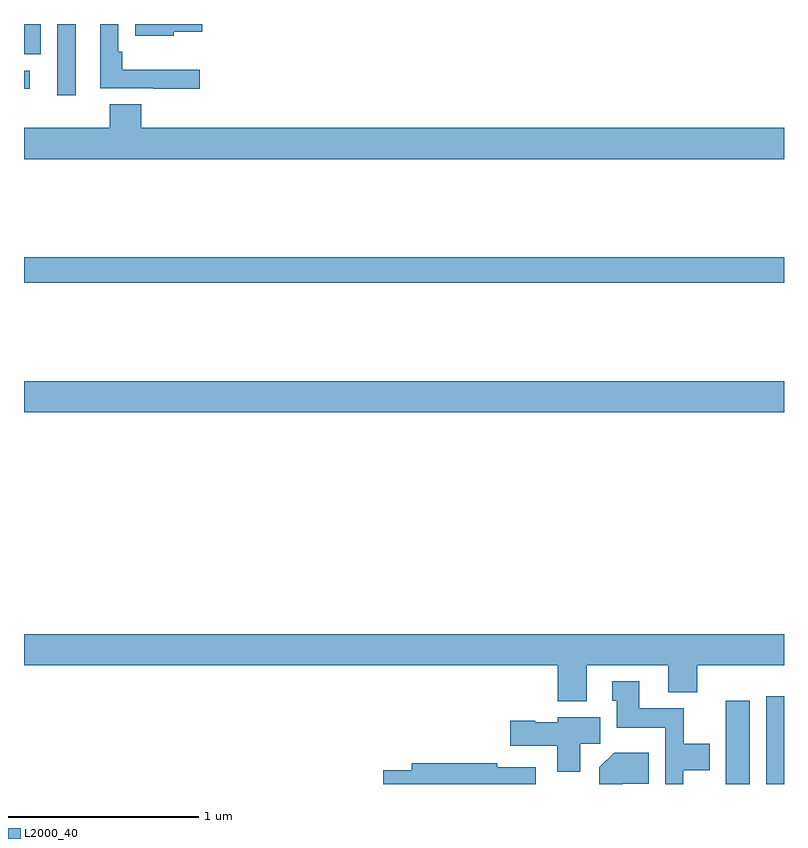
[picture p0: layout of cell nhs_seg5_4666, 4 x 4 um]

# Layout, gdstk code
import gdstk
lib = gdstk.Library(unit=1e-6, precision=1e-09)
def R(c, l, rs):  # rectangles x0, y0, x1, y1
    for r in rs: c.add(gdstk.rectangle(r[:2], r[2:], *l))
def P(c, l, *ps):  # polygons
    for p in ps: c.add(gdstk.Polygon(p, *l))
L2000_40 = (2000, 40)

nhs_seg5_4666 = lib.new_cell('nhs_seg5_4666')
R(nhs_seg5_4666, L2000_40, [(388.694,858.799,388.819,859.237), (388.907,858.799,389,859.261), (385,860.756,389,860.92), (385,861.436,389,861.572), (385.176,862.425,385.272,862.799), (385,862.457,385.03,862.554), (385,862.64,385.087,862.799)])
P(nhs_seg5_4666, L2000_40, [(385.924,862.558),(385.517,862.558),(385.517,862.654),(385.497,862.654),(385.497,862.799),(385.401,862.799),(385.401,862.461),(385.679,862.461),(385.679,862.457),(385.924,862.457)],
  [(385.788,862.757),(385.939,862.757),(385.939,862.799),(385.586,862.799),(385.586,862.736),(385.788,862.736)],
  [(389,862.252),(385.616,862.252),(385.616,862.376),(385.451,862.376),(385.451,862.252),(385,862.252),(385,862.088),(389,862.088)],
  [(387.961,859.424),(388.391,859.424),(388.391,859.283),(388.544,859.283),(388.544,859.424),(389,859.424),(389,859.588),(385,859.588),(385,859.424),(387.809,859.424),(387.809,859.235),(387.961,859.235)],
  [(388.47,858.872),(388.609,858.872),(388.609,859.012),(388.473,859.012),(388.473,859.198),(388.237,859.198),(388.237,859.339),(388.097,859.339),(388.097,859.236),(388.121,859.236),(388.121,859.094),(388.374,859.094),(388.374,858.799),(388.47,858.799)],
  [(387.928,859.012),(388.033,859.012),(388.033,859.15),(387.81,859.15),(387.81,859.123),(387.69,859.123),(387.69,859.131),(387.558,859.131),(387.558,859.001),(387.806,859.001),(387.806,858.864),(387.928,858.864)],
  [(388.15,858.8),(388.289,858.8),(388.289,858.964),(388.106,858.964),(388.028,858.886),(388.028,858.799),(388.15,858.799)],
  [(387.693,858.888),(387.49,858.888),(387.49,858.908),(387.041,858.908),(387.041,858.872),(386.892,858.872),(386.892,858.799),(387.693,858.799)])

lib.write_gds('nhs_seg5_4666.gds')
